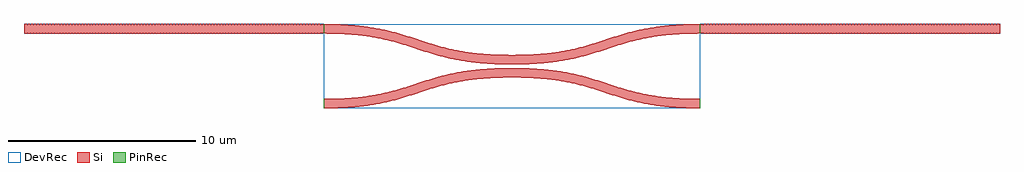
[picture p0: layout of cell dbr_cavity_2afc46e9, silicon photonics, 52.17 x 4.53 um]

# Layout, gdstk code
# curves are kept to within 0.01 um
from math import pi, radians
import gdstk
lib = gdstk.Library(unit=1e-6, precision=1e-09)
def R(c, l, rs):  # rectangles x0, y0, x1, y1
    for r in rs: c.add(gdstk.rectangle(r[:2], r[2:], *l))
def P(c, l, *ps):  # polygons
    for p in ps: c.add(gdstk.Polygon(p, *l))
Si = (1, 0)
PinRec = (1, 10)
DevRec = (68, 0)

coupler_372be5dd = lib.new_cell('coupler_372be5dd')
R(coupler_372be5dd, Si, [(0,-0.25,0.1,0.25), (0,0.45,0.1,0.95)])
P(coupler_372be5dd, Si, [(0,0.25),(-0.595,0.242),(-1.404,0.201),(-2.123,0.131),(-2.665,0.052),(-3.35,-0.083),(-3.967,-0.24),(-5.927,-0.859),(-6.5,-1.017),(-7.033,-1.138),(-7.724,-1.256),(-8.392,-1.333),(-9.281,-1.388),(-10,-1.4),(-10,-1.9),(-9.405,-1.892),(-8.596,-1.851),(-7.877,-1.781),(-7.335,-1.702),(-6.65,-1.567),(-6.033,-1.41),(-4.073,-0.791),(-3.5,-0.633),(-2.967,-0.512),(-2.276,-0.394),(-1.608,-0.317),(-0.719,-0.262),(0,-0.25)],
  [(0,0.45),(-0.595,0.458),(-1.404,0.499),(-2.123,0.569),(-2.665,0.648),(-3.35,0.783),(-3.967,0.94),(-5.927,1.559),(-6.5,1.717),(-7.033,1.838),(-7.724,1.956),(-8.392,2.033),(-9.281,2.088),(-10,2.1),(-10,2.6),(-9.405,2.592),(-8.596,2.551),(-7.877,2.481),(-7.335,2.402),(-6.65,2.267),(-6.033,2.11),(-4.073,1.491),(-3.5,1.333),(-2.967,1.212),(-2.276,1.094),(-1.608,1.017),(-0.719,0.962),(0,0.95)],
  [(0.1,0.45),(0.695,0.458),(1.504,0.499),(2.223,0.569),(2.765,0.648),(3.45,0.783),(4.067,0.94),(6.027,1.559),(6.6,1.717),(7.133,1.838),(7.824,1.956),(8.492,2.033),(9.381,2.088),(10.1,2.1),(10.1,2.6),(9.505,2.592),(8.696,2.551),(7.977,2.481),(7.435,2.402),(6.75,2.267),(6.133,2.11),(4.173,1.491),(3.6,1.333),(3.067,1.212),(2.376,1.094),(1.708,1.017),(0.819,0.962),(0.1,0.95)],
  [(0.1,0.25),(0.695,0.242),(1.504,0.201),(2.223,0.131),(2.765,0.052),(3.45,-0.083),(4.067,-0.24),(6.027,-0.859),(6.6,-1.017),(7.133,-1.138),(7.824,-1.256),(8.492,-1.333),(9.381,-1.388),(10.1,-1.4),(10.1,-1.9),(9.505,-1.892),(8.696,-1.851),(7.977,-1.781),(7.435,-1.702),(6.75,-1.567),(6.133,-1.41),(4.173,-0.791),(3.6,-0.633),(3.067,-0.512),(2.376,-0.394),(1.708,-0.317),(0.819,-0.262),(0.1,-0.25)])
R(coupler_372be5dd, DevRec, [(-10,-1.9,10.1,2.6)])
coupler_372be5dd.add(gdstk.FlexPath([(-9.995,-1.65),(-10.005,-1.65)], 0.5, ends="flush", simple_path=True, layer=1, datatype=10))  # PinRec
coupler_372be5dd.add(gdstk.FlexPath([(-9.995,2.35),(-10.005,2.35)], 0.5, ends="flush", simple_path=True, layer=1, datatype=10))  # PinRec
coupler_372be5dd.add(gdstk.FlexPath([(10.095,2.35),(10.105,2.35)], 0.5, ends="flush", simple_path=True, layer=1, datatype=10))  # PinRec
coupler_372be5dd.add(gdstk.FlexPath([(10.095,-1.65),(10.105,-1.65)], 0.5, ends="flush", simple_path=True, layer=1, datatype=10))  # PinRec
coupler_372be5dd.add(gdstk.Label('o1', (-10,-1.65), layer=1, texttype=10))
coupler_372be5dd.add(gdstk.Label('o2', (-10,2.35), layer=1, texttype=10))
coupler_372be5dd.add(gdstk.Label('o3', (10.1,2.35), layer=1, texttype=10))
coupler_372be5dd.add(gdstk.Label('o4', (10.1,-1.65), layer=1, texttype=10))

straight_6306ba51 = lib.new_cell('straight_6306ba51')
R(straight_6306ba51, Si, [(0,-0.25,0.079,0.25)])

straight_5a70fe3a = lib.new_cell('straight_5a70fe3a')
R(straight_5a70fe3a, Si, [(0,-0.225,0.079,0.225)])

straight_481d63fc = lib.new_cell('straight_481d63fc')
R(straight_481d63fc, Si, [(0,-0.275,0.079,0.275)])

dbr_cell_f5a59c76 = lib.new_cell('dbr_cell_f5a59c76')
dbr_cell_f5a59c76.add(gdstk.Reference(straight_5a70fe3a, (0,0)))
dbr_cell_f5a59c76.add(gdstk.Reference(straight_481d63fc, (0.079,0)))

straight_5a92a2d8 = lib.new_cell('straight_5a92a2d8')
R(straight_5a92a2d8, Si, [(0,-0.25,0.079,0.25)])

dbr_8a0eabad = lib.new_cell('dbr_8a0eabad')
r = gdstk.Reference(dbr_cell_f5a59c76, (0,0)); r.repetition = gdstk.Repetition(100, 1, v1=(0.158,0), v2=(0,100)); dbr_8a0eabad.add(r)
dbr_8a0eabad.add(gdstk.Reference(straight_5a92a2d8, (-0.079,0)))
dbr_8a0eabad.add(gdstk.Reference(straight_5a92a2d8, (15.8,0)))

dbr = lib.new_cell('dbr')
R(dbr, DevRec, [(-0.158,-0.275,15.879,0.275)])
dbr.add(gdstk.FlexPath([(-0.153,0),(-0.163,0)], 0.5, ends="flush", simple_path=True, layer=1, datatype=10))  # PinRec
dbr.add(gdstk.Reference(straight_6306ba51, (-0.158,0)))
dbr.add(gdstk.Reference(dbr_8a0eabad, (0,0)))
dbr.add(gdstk.Label('o1', (-0.158,0), layer=1, texttype=10))

dbr_cavity_2afc46e9 = lib.new_cell('dbr_cavity_2afc46e9')
dbr_cavity_2afc46e9.add(gdstk.Reference(coupler_372be5dd, (0,0)))
dbr_cavity_2afc46e9.add(gdstk.Reference(dbr, (-10.158,2.35), rotation=pi))
dbr_cavity_2afc46e9.add(gdstk.Reference(dbr, (10.258,2.35)))

lib.write_gds('dbr_cavity_2afc46e9.gds')
